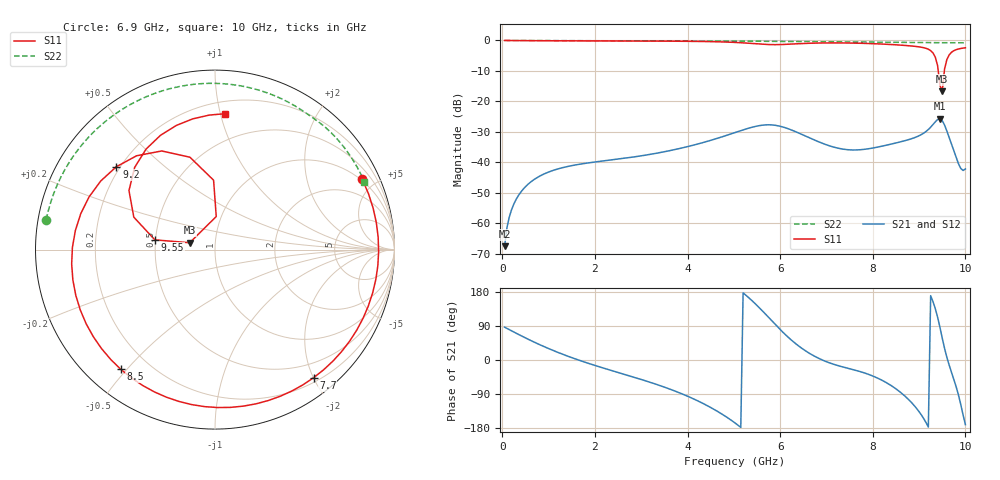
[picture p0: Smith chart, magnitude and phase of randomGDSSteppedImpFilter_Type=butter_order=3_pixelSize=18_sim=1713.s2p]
! freq	dB(S11)	phase(S11)	dB(S12)	phase(S12)
!  dB(S21)	phase(S21)	dB(S22)	phase(S22)
!S-par simulation data
#  GHz  S  DB  R 50
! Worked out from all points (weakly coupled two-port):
!   200 points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, 50 MHz to 10 GHz, reference 50 ohm
!   highest |S21| = -25.67 dB at 9.45 GHz (marker M1); lowest = -67.4 dB at 50 MHz (marker M2)
!   lowest |S11| = -16.7 dB at 9.5 GHz (marker M3), VSWR 1.34, Z = 37.6 + j2.94 ohm
!   |S11| at or under -10 dB: 9.414 GHz to 9.546 GHz (132.2 MHz wide, 1.39 % of centre)
!   |S22| runs from -0.8 to 0.0 dB; largest |S21 - S12| = 0
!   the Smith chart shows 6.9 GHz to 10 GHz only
!   S11 on the Smith chart (normalised r, x): 6.9 GHz: 0.93, +4.20; 7.7 GHz: 0.26, -2.00; 8.5 GHz: 0.10, -0.48; 9.2 GHz: 0.19, +0.35; 9.55 GHz: 0.50, +0.06; 10 GHz: 0.29, +1.03
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0.05  -0.01 -5.2  -67.45 86.6  -67.45 86.6  -0.00 -1.4
0.3  -0.04 -30.5  -52.08 70.6  -52.08 70.6  -0.01 -8.1
0.85  -0.10 -81.6  -44.14 38.1  -44.14 38.1  -0.03 -22.8
1.75  -0.14 -147.7  -40.39 -4.4  -40.39 -4.4  -0.06 -46.6
2.55  -0.16 164.8  -38.80 -34.8  -38.80 -34.8  -0.09 -67.4
3.4  -0.21 115.9  -36.78 -67.3  -36.78 -67.3  -0.12 -89.3
4.25  -0.32 58.9  -33.83 -109.6  -33.83 -109.6  -0.16 -111.4
5.05  -0.66 -19.5  -30.08 -168.4  -30.08 -168.4  -0.22 -132.8
5.5  -1.11 -90.6  -28.07 144.0  -28.07 144.0  -0.26 -145.5
5.9  -1.38 -174.4  -27.83 93.1  -27.83 93.1  -0.29 -157.2
6.3  -1.14 107.3  -29.69 46.6  -29.69 46.6  -0.33 -169.7
6.7  -0.89 49.2  -32.38 12.8  -32.38 12.8  -0.38 177.0
6.9  -0.83 25.6  -33.65 0.6  -33.65 0.6  -0.40 169.9
7.7  -0.91 -52.4  -35.86 -29.6  -35.86 -29.6  -0.51 138.8
8.35  -1.29 -113.1  -34.15 -63.9  -34.15 -63.9  -0.61 109.4
8.5  -1.43 -128.3  -33.61 -76.1  -33.61 -76.1  -0.63 102.1
8.9  -1.91 -174.3  -31.88 -121.0  -31.88 -121.0  -0.69 81.9
9.2  -2.88 140.0  -29.19 -176.9  -29.19 -176.9  -0.74 66.2
9.45  -14.68 87.8  -25.67 86.4  -25.67 86.4  -0.77 53.3
9.5  -16.72 164.8  -26.27 57.8  -26.27 57.8  -0.76 50.8
9.55  -9.38 170.8  -27.74 30.7  -27.74 30.7  -0.75 48.1
10  -2.39 85.9  -42.12 -170.4  -42.12 -170.4  -0.78 24.5
